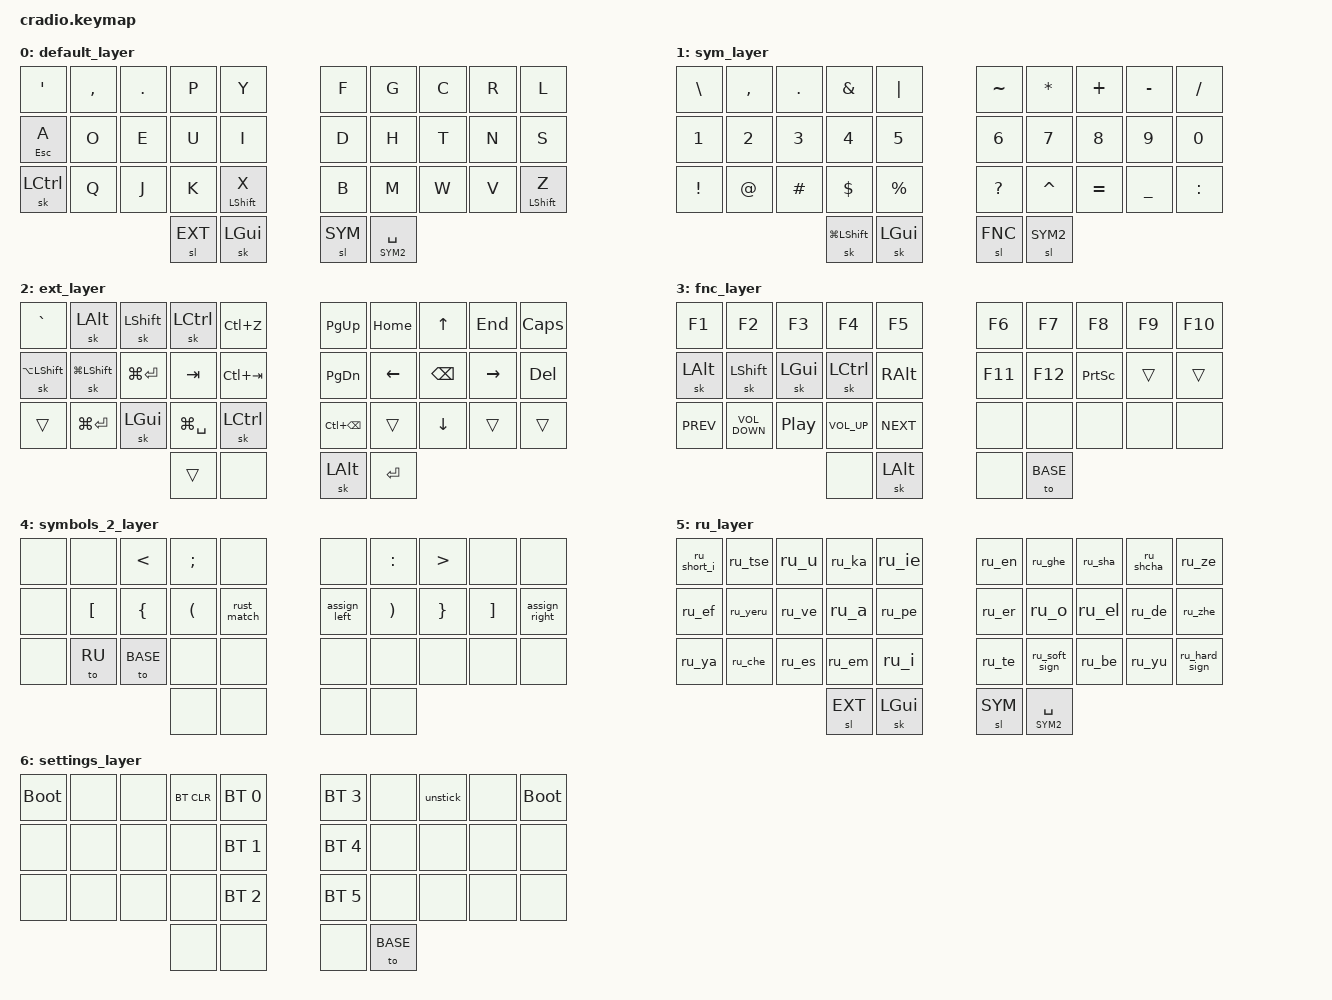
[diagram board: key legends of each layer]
/*
 * Copyright (c) 2020 The ZMK Contributors
 *
 * SPDX-License-Identifier: MIT
 */

#include <behaviors.dtsi>
#include <dt-bindings/zmk/keys.h>
#include <dt-bindings/zmk/bt.h>

// OS definition (before sourcing helper)
#define HOST_OS 1

#include "../zmk-nodefree-config/helper.h"
#include "../zmk-nodefree-config/international_chars/greek.dtsi"
#include "../zmk-nodefree-config/international_chars/russian.dtsi"

#undef OS_UNICODE_LEAD
#undef OS_UNICODE_TRAIL
#define OS_UNICODE_LEAD &macro_tap &kp LS(LC(U))  // <- Linux compose sequence
#define OS_UNICODE_TRAIL &macro_tap &kp SPACE  // <- Space terminates unicode input on Linux

// Layer definitions
    #define BASE 0
    #define SYM 1
    #define EXT 2
    #define FNC 3
    #define SYM2 4
    #define RU 5
		#define SETTINGS 6
// -----------------


&mt {
   //  flavor = "tap-preferred";
   // tapping_term_ms = <200>;
};

&sk {
    ignore-modifiers;
};

/ {
		macros {
				// sometimes my device thinks a modifier is being held down
				// pressing all modifiers fixes it.
				unstick: unstick {
					label = "ZM_unstick";
					compatible = "zmk,behavior-macro";
					#binding-cells = <0>;
					bindings
						= <&kp LSHIFT &kp RSHIFT &kp LCTRL &kp RCTRL &kp LALT &kp RALT &kp LGUI &kp RGUI>;
				};
				assign_left: assign_left {
					label = "ZM_assign_left";
            				compatible = "zmk,behavior-macro";
            				#binding-cells = <0>;
            				bindings
                				= <&kp LT &kp MINUS>;
        			};
				assign_right: assign_right {
					label = "ZM_assign_right";
            				compatible = "zmk,behavior-macro";
            				#binding-cells = <0>;
            				bindings
                				= <&kp MINUS &kp GT>;
				};
				rust_match: rust_match {
					label = "ZM_rust_match";
            				compatible = "zmk,behavior-macro";
            				#binding-cells = <0>;
            				bindings
                				= <&kp EQUAL &kp GT>;
        			};
				both_curly: both_curly {
					label = "ZM_both_curly";
            				compatible = "zmk,behavior-macro";
            				#binding-cells = <0>;
            				bindings
                				= <&kp LBRC &kp RBRC &kp LEFT>;
        			};
				both_curvy: both_curvy {
					label = "ZM_both_curvy";
            				compatible = "zmk,behavior-macro";
            				#binding-cells = <0>;
            				bindings
                				= <&kp LPAR &kp RPAR &kp LEFT>;
        			};
				both_bracky: both_bracky {
					label = "ZM_both_bracky";
            				compatible = "zmk,behavior-macro";
            				#binding-cells = <0>;
            				bindings
                				= <&kp LBKT &kp RBKT &kp LEFT>;
        			};
				sticky_gui: sticky_gui {
					label = "ZM_sticky_gui";
            				compatible = "zmk,behavior-macro";
            				#binding-cells = <0>;
            				bindings
                				= <&sk LGUI>;
				};
				
				sticky_shifty_gui: sticky_shifty_gui {
					label = "ZM_sticky_shifty_gui";
            				compatible = "zmk,behavior-macro";
            				#binding-cells = <0>;
            				bindings
                				= <&sk LG(LSHIFT)>;
				};

	};

    combos {
        compatible = "zmk,combos";
				// both right thumb keys
        combo_accent {
            timeout-ms = <300>;
            key-positions = <32 33>;
            bindings = <&mo RU>;
        };
				// internal-left & -right thumb keys
				combo_sym2 {
						timeout-ms = <200>;
						key-positions = <31 34>;
						bindings = <&kp ENTER>;
				};
				// both left thumb keys
				combo_settings {
						timeout-ms = <300>;
						key-positions = <30 31>;
						bindings = <&mo SETTINGS>;
				};
    };
    
    behaviors {
    	td: tapdance {
            compatible = "zmk,behavior-hold-tap";
            label = "TAPDANCE";
            #binding-cells = <2>;
            tapping-term-ms = <250>;
            quick_tap_ms = <0>;
            flavor = "tap-preferred";
            bindings = <&kp>, <&kp>;
        };
	
	td_caps: tap_dance_mod_tap {
            compatible = "zmk,behavior-tap-dance";
            label = "TAP_DANCE_MOD_TAP";
            #binding-cells = <0>;
            tapping-term-ms = <300>;
            bindings = <&kp LSHIFT>, <&kp CAPSLOCK>;
        };
	
	td0: tap_dance_0 {
            compatible = "zmk,behavior-tap-dance";
            label = "TAP_DANCE_0";
            #binding-cells = <0>;
            tapping-term-ms = <200>;
            bindings = <&kp N1>, <&kp N2>, <&kp N3>;
        };
	
	td_tab: tap_tab {
            compatible = "zmk,behavior-tap-dance";
            label = "TAP_TAB";
            #binding-cells = <0>;
            tapping-term-ms = <250>;
            bindings = <&kp SPACE>, <&kp ENTER>;
        };
	
	td_dollar: tap_dollar {
            compatible = "zmk,behavior-tap-dance";
            label = "TAP_DOLLAR";
            #binding-cells = <0>;
            tapping-term-ms = <250>;
            bindings = <&kp DOLLAR>, <&kp PERCENT>;
        };
	
	td_hash: tap_hash {
            compatible = "zmk,behavior-tap-dance";
            label = "TAP_HASH";
            #binding-cells = <0>;
            tapping-term-ms = <250>;
            bindings = <&kp HASH>, <&kp TILDE>;
        };
	
	
	
	td_minus: tap_minus_under {
            compatible = "zmk,behavior-tap-dance";
            label = "TAP_MINUS_UNDER";
            #binding-cells = <0>;
            tapping-term-ms = <250>;
            bindings = <&kp MINUS>, <&kp UNDER>;
        };
	
	
	
	
	
	td_cp: tap_copy_and_paste {
            compatible = "zmk,behavior-tap-dance";
            label = "TAP_COPY_AND_PASTE";
            #binding-cells = <0>;
            tapping-term-ms = <200>;
            bindings = <&kp LC(C)>, <&kp LC(V)>;
        };
	
	
	td_back: tap_dance_back_space_s {
            compatible = "zmk,behavior-tap-dance";
            label = "TAP_DANCE_BACK_SPACE_S";
            #binding-cells = <0>;
            tapping-term-ms = <300>;
            bindings = <&mt BSPC S>, <&kp BSPC>;
        };
	
	hm: homerow_mods {
            compatible = "zmk,behavior-hold-tap";
            label = "HOMEROW_MODS";
            #binding-cells = <2>;
            tapping-term-ms = <300>;
            quick_tap_ms = <0>;
            flavor = "tap-preferred";
            bindings = <&kp>, <&kp>;
        };
    };

    keymap {
            compatible = "zmk,keymap";

        // Base alpha layer
       		default_layer {
		bindings = <
		&kp SQT &kp COMMA &kp DOT &kp P &kp Y        			&kp F &kp G  &kp C &kp R &kp L
		&hm ESC A &kp O &kp E &kp U &kp I         	 		&kp D &kp H  &kp T &kp N &kp S
		&sk LCTRL &kp Q &kp J &kp K &mt LSHIFT X         	  &kp B &kp M  &kp W &kp V &mt LSHIFT Z
                      &sl EXT  &sk LGUI                   	               &sl SYM  &lt SYM2 SPACE
		>;
		};

        // Numbers and high frequency symbols
       		sym_layer {
		bindings = <
		&kp BACKSLASH  &kp COMMA &kp DOT  &kp AMPS  &kp PIPE               &kp TILDE  &kp STAR &kp PLUS &kp MINUS &kp SLASH 
		&kp N1 &kp N2 &kp N3 &kp N4 &kp N5		                      &kp N6 &kp N7 &kp N8 &kp N9 &kp N0
		&kp EXCLAMATION &kp AT &kp HASH &kp DOLLAR &kp PERCENT      &kp QUESTION &kp CARET  &kp EQUAL &kp UNDER  &kp COLON            
				  &sk LG(LSHIFT)  &sk LGUI               &sl FNC &sl SYM2
		>;
		};

        // Main modifiers and arrow keys
		    ext_layer {
		bindings = <
		&kp GRAVE  &sk LALT &sk LSHIFT   &sk LCTRL  &kp LC(Z) 			&kp PG_UP  &kp HOME &kp UP &kp END &kp CAPS
		&sk LA(LSHIFT) &sk LG(LSHIFT) &kp LG(ENTER)  &kp TAB  &kp LC(TAB)        	&kp PG_DN &kp LEFT  &kp BSPC  &kp RIGHT   &kp DEL
		&trans  &kp LG(ENTER) &sk LGUI &kp LG(SPACE)  &sk LCTRL                      &kp LC(BSPC) &trans &kp DOWN &trans  &trans
					                        &trans &none    &sk LALT &kp ENTER  
		>;
		};

        // Function keys with modifiers
       		fnc_layer {
		bindings = <
		&kp F1 &kp F2 &kp F3 &kp F4 &kp F5                  &kp F6 &kp F7 &kp F8 &kp F9 &kp F10 
		&sk LALT &sk LSHIFT  &sk LGUI &sk LCTRL &kp RALT     &kp F11 &kp F12  &kp PRINTSCREEN &trans &trans
		&kp C_PREV &kp C_VOLUME_DOWN &kp C_PLAY_PAUSE &kp C_VOL_UP &kp C_NEXT	&none &none &none &none &none 
          				           &none &sk LALT              &none &to BASE
		>;
		};

        // Low frequency symbols.
       		symbols_2_layer {
		bindings = <
		&none    &none     &kp LT    &kp SEMI    &none                &none &kp COLON &kp GT &none &none 
		&none &kp LBKT &kp LBRC  &kp LPAR  &rust_match			&assign_left &kp RPAR &kp RBRC &kp RBKT &assign_right
		&none 	&to RU  &to BASE  &none        &none          		&none &none &none &none &none
          				           	&none &none        	&none &none 
		>;
		};

        // Used to type regional accents.
       		ru_layer {
		bindings = <
		&ru_short_i &ru_tse &ru_u &ru_ka &ru_ie                         &ru_en &ru_ghe &ru_sha &ru_shcha &ru_ze 
		&ru_ef &ru_yeru &ru_ve &ru_a &ru_pe                      &ru_er &ru_o &ru_el &ru_de &ru_zhe
		&ru_ya &ru_che &ru_es &ru_em &ru_i                         &ru_te &ru_soft_sign &ru_be &ru_yu &ru_hard_sign
                      &sl EXT  &sk LGUI                   	               &sl SYM  &lt SYM2 SPACE
		>;
		};

        // Used to change the keyboard's settings.
       		settings_layer {
		bindings = <
		&bootloader &none &none &bt BT_CLR &bt BT_SEL 0               &bt BT_SEL 3 &none &unstick &none &bootloader 
		&none &none &none &none      &bt BT_SEL 1 		 &bt BT_SEL 4 &none &none &none &none
		&none &none &none &none      &bt BT_SEL 2               &bt BT_SEL 5 &none &none &none &none
          				     &none &none                         &none &to BASE
		>;
		};
        
	};
};
